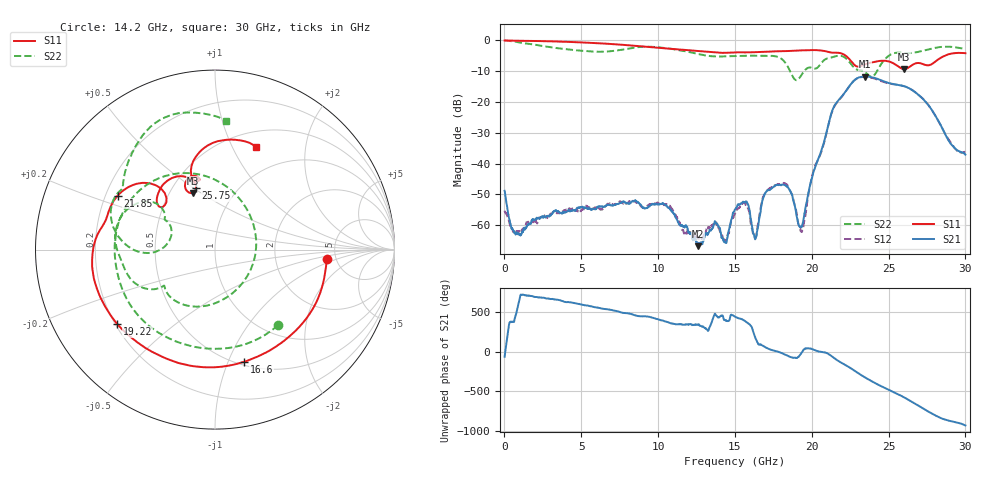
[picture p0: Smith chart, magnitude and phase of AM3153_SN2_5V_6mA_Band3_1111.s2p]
!Agilent Technologies,E8364B,MY43040894,A.07.50.67
!Agilent E8364B: A.07.50.67
!Date: Wednesday, May 13, 2020 06:24:40
!Correction: S11(Full 2 Port(1,2))
!S21(Full 2 Port(1,2))
!S12(Full 2 Port(1,2))
!S22(Full 2 Port(1,2))
!S2P File: Measurements: S11, S21, S12, S22:
# Hz S  dB  R 50
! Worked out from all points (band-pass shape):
!   1601 points, 10 MHz to 30 GHz, reference 50 ohm
!   highest |S21| = -11.75 dB at 23.48 GHz (marker M1); lowest = -66.8 dB at 12.61 GHz (marker M2)
!   |S21| within 3 dB of the highest: 22.47 GHz to 25.91 GHz (3.439 GHz wide, 14.2 % of centre)
!   lowest |S11| = -9.4 dB at 26.03 GHz (marker M3), VSWR 2.03, Z = 32.4 + j23.2 ohm
!   |S11| at or under -10 dB: nowhere
!   |S22| runs from -12.9 to -0.1 dB; largest |S21 - S12| = 0.011
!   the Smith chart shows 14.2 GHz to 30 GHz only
!   S11 on the Smith chart (normalised r, x): 14.2 GHz: 4.21, -0.73; 16.6 GHz: 0.53, -1.15; 19.22 GHz: 0.21, -0.32; 21.85 GHz: 0.25, +0.24; 25.75 GHz: 0.65, +0.51; 30 GHz: 0.67, +1.24
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1e7  -0.07 -2.1  -48.83 -63.9  -55.29 42.2  -0.06 -4.2
5.910562e8  -0.13 -16.7  -61.82 17.0  -62.27 12.3  -0.36 -36.1
1.340806e9  -0.19 -37.3  -61.20 -10.1  -60.21 2.3  -1.01 -79.0
2.802819e9  -0.33 -76.1  -56.95 -47.8  -57.46 -50.2  -2.10 -152.3
5.014581e9  -0.70 -130.2  -54.10 -125.8  -55.11 -129.1  -3.39 107.2
6.9077e9  -1.19 -173.6  -53.58 167.7  -53.27 166.0  -3.56 2.0
8.238506e9  -1.68 156.2  -52.50 114.7  -52.12 119.2  -2.55 -90.3
1.001916e10  -2.43 113.8  -53.27 46.9  -52.82 51.7  -2.25 158.8
1.121876e10  -2.93 82.7  -58.06 -14.2  -57.43 -14.9  -3.07 97.4
1.26058e10  -3.47 42.4  -66.79 -16.9  -64.01 -13.1  -4.45 29.0
1.419902e10  -4.08 -4.8  -64.17 96.3  -63.78 -172.3  -5.23 -50.2
1.5005e10  -3.92 -29.0  -54.90 81.8  -56.30 79.0  -5.15 -91.0
1.659822e10  -3.80 -75.4  -57.59 94.5  -56.44 97.4  -5.02 -157.8
1.824767e10  -3.52 -118.9  -46.96 -34.7  -46.29 -35.3  -7.08 106.5
1.922234e10  -3.29 -142.8  -60.43 -42.1  -61.16 -165.0  -12.06 -58.5
2.000958e10  -3.19 -162.4  -44.79 33.5  -44.16 35.1  -8.93 -139.7
2.184647e10  -4.15 151.0  -18.87 -129.9  -19.01 -128.6  -5.01 165.9
2.347718e10  -7.79 141.7  -11.75 35.1  -11.91 35.9  -10.33 149.8
2.501416e10  -6.84 115.9  -13.87 -119.8  -14.00 -116.8  -5.02 170.2
2.574517e10  -8.88 107.2  -14.59 172.1  -14.60 174.5  -4.03 151.7
2.602632e10  -9.38 111.5  -14.93 143.1  -14.92 145.5  -4.12 148.2
3e10  -4.18 68.2  -37.08 150.8  -36.20 156.2  -2.84 85.3
